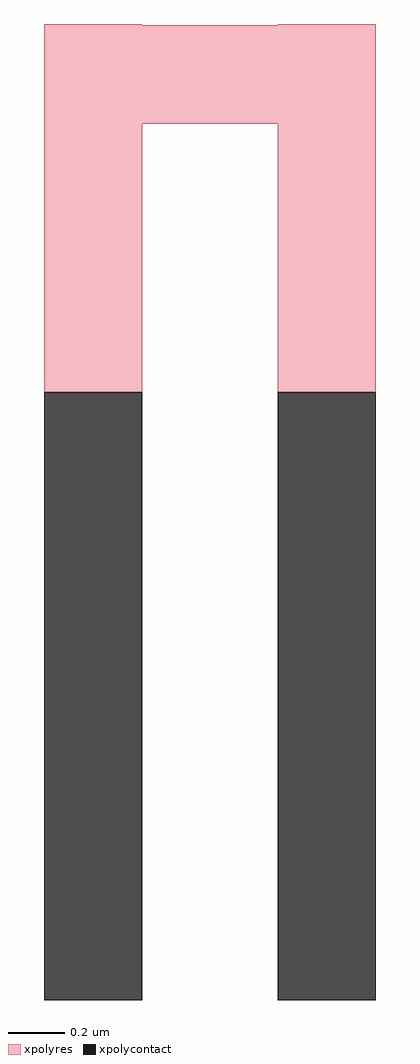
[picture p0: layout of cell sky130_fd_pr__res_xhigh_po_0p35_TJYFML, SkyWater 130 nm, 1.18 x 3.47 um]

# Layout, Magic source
magic
tech sky130A
magscale 1 2
<< xpolycontact >>
rect -118 -347 -48 85
rect 48 -347 118 85
<< xpolyres >>
rect -118 346 -48 347
rect 48 346 118 347
rect -118 276 118 346
rect -118 85 -48 276
rect 48 85 118 276
<< properties >>
string gencell sky130_fd_pr__res_xhigh_po_0p35
string library sky130
string parameters w 0.35 l 0.785 m 1 nx 2 wmin 0.350 lmin 0.50 rho 2000 val 12.046k dummy 0 dw 0.0 term 188.2 sterm 0.0 caplen 0 wmax 0.350 guard 0 glc 1 grc 1 gtc 1 gbc 1 compatible {sky130_fd_pr__res_xhigh_po_0p35  sky130_fd_pr__res_xhigh_po_0p69 sky130_fd_pr__res_xhigh_po_1p41  sky130_fd_pr__res_xhigh_po_2p85 sky130_fd_pr__res_xhigh_po_5p73} snake 1 full_metal 1 n_guard 0 hv_guard 0 vias 1 viagb 0 viagt 0 viagl 0 viagr 0
<< end >>
